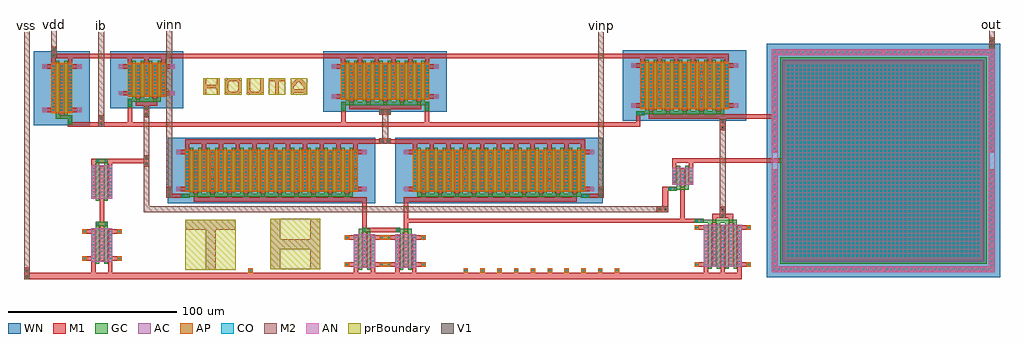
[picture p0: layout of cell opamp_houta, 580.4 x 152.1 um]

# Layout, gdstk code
from math import pi, radians
import gdstk
lib = gdstk.Library(unit=1e-6, precision=1e-07)
def R(c, l, rs):  # rectangles x0, y0, x1, y1
    for r in rs: c.add(gdstk.rectangle(r[:2], r[2:], *l))
def A(c, l, x, y, w, h, nx, ny, dx, dy):  # array of equal rectangles
    R(c, l, [(x+i*dx, y+j*dy, x+i*dx+w, y+j*dy+h) for i in range(nx) for j in range(ny)])
def P(c, l, *ps):  # polygons
    for p in ps: c.add(gdstk.Polygon(p, *l))
AP = (3, 1)
AN = (3, 2)
AC = (3, 4)
GC = (8, 1)
CO = (11, 0)
M1 = (13, 0)
V1 = (19, 0)
M2 = (20, 0)
WN = (140, 0)
prBoundary = (235, 0)

fet_p_9 = lib.new_cell('fet_p$9')
R(fet_p_9, AP, [(-51.3,-12.5,51.3,12.5)])
A(fet_p_9, CO, -50.5, -11.5, 1, 1, 21, 12, 5, 2)
A(fet_p_9, M1, -51.3, -12.3, 2.6, 24.6, 21, 1, 5, 0)
fet_p_9.add(gdstk.FlexPath([(2.5,-13.7),(2.5,13.7)], 2, ends="flush", simple_path=True, layer=8, datatype=1))  # GC
fet_p_9.add(gdstk.FlexPath([(-2.5,-13.7),(-2.5,13.7)], 2, ends="flush", simple_path=True, layer=8, datatype=1))  # GC
fet_p_9.add(gdstk.FlexPath([(7.5,-13.7),(7.5,13.7)], 2, ends="flush", simple_path=True, layer=8, datatype=1))  # GC
fet_p_9.add(gdstk.FlexPath([(-7.5,-13.7),(-7.5,13.7)], 2, ends="flush", simple_path=True, layer=8, datatype=1))  # GC
fet_p_9.add(gdstk.FlexPath([(12.5,-13.7),(12.5,13.7)], 2, ends="flush", simple_path=True, layer=8, datatype=1))  # GC
fet_p_9.add(gdstk.FlexPath([(-12.5,-13.7),(-12.5,13.7)], 2, ends="flush", simple_path=True, layer=8, datatype=1))  # GC
fet_p_9.add(gdstk.FlexPath([(17.5,-13.7),(17.5,13.7)], 2, ends="flush", simple_path=True, layer=8, datatype=1))  # GC
fet_p_9.add(gdstk.FlexPath([(-17.5,-13.7),(-17.5,13.7)], 2, ends="flush", simple_path=True, layer=8, datatype=1))  # GC
fet_p_9.add(gdstk.FlexPath([(22.5,-13.7),(22.5,13.7)], 2, ends="flush", simple_path=True, layer=8, datatype=1))  # GC
fet_p_9.add(gdstk.FlexPath([(-22.5,-13.7),(-22.5,13.7)], 2, ends="flush", simple_path=True, layer=8, datatype=1))  # GC
fet_p_9.add(gdstk.FlexPath([(27.5,-13.7),(27.5,13.7)], 2, ends="flush", simple_path=True, layer=8, datatype=1))  # GC
fet_p_9.add(gdstk.FlexPath([(-27.5,-13.7),(-27.5,13.7)], 2, ends="flush", simple_path=True, layer=8, datatype=1))  # GC
fet_p_9.add(gdstk.FlexPath([(32.5,-13.7),(32.5,13.7)], 2, ends="flush", simple_path=True, layer=8, datatype=1))  # GC
fet_p_9.add(gdstk.FlexPath([(-32.5,-13.7),(-32.5,13.7)], 2, ends="flush", simple_path=True, layer=8, datatype=1))  # GC
fet_p_9.add(gdstk.FlexPath([(37.5,-13.7),(37.5,13.7)], 2, ends="flush", simple_path=True, layer=8, datatype=1))  # GC
fet_p_9.add(gdstk.FlexPath([(-37.5,-13.7),(-37.5,13.7)], 2, ends="flush", simple_path=True, layer=8, datatype=1))  # GC
fet_p_9.add(gdstk.FlexPath([(42.5,-13.7),(42.5,13.7)], 2, ends="flush", simple_path=True, layer=8, datatype=1))  # GC
fet_p_9.add(gdstk.FlexPath([(-42.5,-13.7),(-42.5,13.7)], 2, ends="flush", simple_path=True, layer=8, datatype=1))  # GC
fet_p_9.add(gdstk.FlexPath([(47.5,-13.7),(47.5,13.7)], 2, ends="flush", simple_path=True, layer=8, datatype=1))  # GC
fet_p_9.add(gdstk.FlexPath([(-47.5,-13.7),(-47.5,13.7)], 2, ends="flush", simple_path=True, layer=8, datatype=1))  # GC

cont_p = lib.new_cell('cont_p')
R(cont_p, AP, [(-1.3,-1.3,1.3,1.3)])
R(cont_p, CO, [(-0.5,-0.5,0.5,0.5)])
R(cont_p, M1, [(-1.3,-1.3,1.3,1.3)])

fet_n = lib.new_cell('fet_n')
R(fet_n, AN, [(-6.3,-5,6.3,5)])
A(fet_n, CO, -5.5, -3.5, 1, 1, 3, 4, 5, 2)
A(fet_n, M1, -6.3, -4.3, 2.6, 8.6, 3, 1, 5, 0)
fet_n.add(gdstk.FlexPath([(2.5,-6.2),(2.5,6.2)], 2, ends="flush", simple_path=True, layer=8, datatype=1))  # GC
fet_n.add(gdstk.FlexPath([(-2.5,-6.2),(-2.5,6.2)], 2, ends="flush", simple_path=True, layer=8, datatype=1))  # GC

fet_n_2 = lib.new_cell('fet_n$2')
R(fet_n_2, AN, [(-11.3,-12.5,11.3,12.5)])
A(fet_n_2, CO, -10.5, -11.5, 1, 1, 5, 12, 5, 2)
A(fet_n_2, M1, -11.3, -12.3, 2.6, 24.6, 5, 1, 5, 0)
fet_n_2.add(gdstk.FlexPath([(2.5,-13.7),(2.5,13.7)], 2, ends="flush", simple_path=True, layer=8, datatype=1))  # GC
fet_n_2.add(gdstk.FlexPath([(-2.5,-13.7),(-2.5,13.7)], 2, ends="flush", simple_path=True, layer=8, datatype=1))  # GC
fet_n_2.add(gdstk.FlexPath([(7.5,-13.7),(7.5,13.7)], 2, ends="flush", simple_path=True, layer=8, datatype=1))  # GC
fet_n_2.add(gdstk.FlexPath([(-7.5,-13.7),(-7.5,13.7)], 2, ends="flush", simple_path=True, layer=8, datatype=1))  # GC

cont_g = lib.new_cell('cont_g')
R(cont_g, GC, [(-1.3,-1.3,1.3,1.3)])
R(cont_g, CO, [(-0.5,-0.5,0.5,0.5)])
R(cont_g, M1, [(-1.3,-1.3,1.3,1.3)])

cont_n = lib.new_cell('cont_n')
R(cont_n, AN, [(-1.3,-1.3,1.3,1.3)])
R(cont_n, CO, [(-0.5,-0.5,0.5,0.5)])
R(cont_n, M1, [(-1.3,-1.3,1.3,1.3)])

via_1 = lib.new_cell('via_1')
R(via_1, M1, [(-1.7,-1.7,1.7,1.7)])
R(via_1, V1, [(-0.7,-0.7,0.7,0.7)])
R(via_1, M2, [(-1.7,-1.7,1.7,1.7)])

moscap = lib.new_cell('moscap')
P(moscap, AN, [(-66.4,-66.4),(-66.4,62.8),(-62.8,62.8),(-62.8,-62.8),(62.8,-62.8),(62.8,62.8),(-66.4,62.8),(-66.4,66.4),(66.4,66.4),(66.4,-66.4)])
R(moscap, AC, [(-60,-60,60,60)])
R(moscap, GC, [(-61.4,-61.4,61.4,61.4)])
A(moscap, CO, -65.2, -65.2, 1.2, 1.2, 1, 27, 0, 2.4)
A(moscap, CO, -65.2, -65.2, 1.2, 1.2, 25, 2, 2.4, 129.2)
A(moscap, CO, 6.4, -65.2, 1.2, 1.2, 25, 2, 2.4, 129.2)
A(moscap, CO, 64, -65.2, 1.2, 1.2, 1, 27, 0, 2.4)
A(moscap, CO, -57, -57, 1.2, 1.2, 48, 48, 2.4, 2.4)
A(moscap, CO, -65.2, 1.6, 1.2, 1.2, 1, 27, 0, 2.4)
A(moscap, CO, 64, 1.6, 1.2, 1.2, 1, 27, 0, 2.4)
R(moscap, M1, [(-59.3,-59.3,59.3,59.3)])
P(moscap, M1, [(-66.4,-66.4),(-66.4,66.4),(-5,66.4),(-5,62.8),(-62.8,62.8),(-62.8,-62.8),(-5,-62.8),(-5,-66.4)],
  [(5,-66.4),(5,-62.8),(62.8,-62.8),(62.8,62.8),(5,62.8),(5,66.4),(66.4,66.4),(66.4,-66.4)])
R(moscap, WN, [(-69.4,-69.4,69.4,69.4)])

fet_p_2 = lib.new_cell('fet_p$2')
R(fet_p_2, AP, [(-26.3,-14,26.3,14)])
A(fet_p_2, CO, -25.5, -12.5, 1, 1, 11, 13, 5, 2)
A(fet_p_2, M1, -26.3, -13.3, 2.6, 26.6, 11, 1, 5, 0)
fet_p_2.add(gdstk.FlexPath([(2.5,-15.2),(2.5,15.2)], 2, ends="flush", simple_path=True, layer=8, datatype=1))  # GC
fet_p_2.add(gdstk.FlexPath([(-2.5,-15.2),(-2.5,15.2)], 2, ends="flush", simple_path=True, layer=8, datatype=1))  # GC
fet_p_2.add(gdstk.FlexPath([(7.5,-15.2),(7.5,15.2)], 2, ends="flush", simple_path=True, layer=8, datatype=1))  # GC
fet_p_2.add(gdstk.FlexPath([(-7.5,-15.2),(-7.5,15.2)], 2, ends="flush", simple_path=True, layer=8, datatype=1))  # GC
fet_p_2.add(gdstk.FlexPath([(12.5,-15.2),(12.5,15.2)], 2, ends="flush", simple_path=True, layer=8, datatype=1))  # GC
fet_p_2.add(gdstk.FlexPath([(-12.5,-15.2),(-12.5,15.2)], 2, ends="flush", simple_path=True, layer=8, datatype=1))  # GC
fet_p_2.add(gdstk.FlexPath([(17.5,-15.2),(17.5,15.2)], 2, ends="flush", simple_path=True, layer=8, datatype=1))  # GC
fet_p_2.add(gdstk.FlexPath([(-17.5,-15.2),(-17.5,15.2)], 2, ends="flush", simple_path=True, layer=8, datatype=1))  # GC
fet_p_2.add(gdstk.FlexPath([(22.5,-15.2),(22.5,15.2)], 2, ends="flush", simple_path=True, layer=8, datatype=1))  # GC
fet_p_2.add(gdstk.FlexPath([(-22.5,-15.2),(-22.5,15.2)], 2, ends="flush", simple_path=True, layer=8, datatype=1))  # GC

fet_n_1 = lib.new_cell('fet_n$1')
R(fet_n_1, AN, [(-6.3,-10,6.3,10)])
A(fet_n_1, CO, -5.5, -8.5, 1, 1, 3, 9, 5, 2)
A(fet_n_1, M1, -6.3, -9.3, 2.6, 18.6, 3, 1, 5, 0)
fet_n_1.add(gdstk.FlexPath([(2.5,-11.2),(2.5,11.2)], 2, ends="flush", simple_path=True, layer=8, datatype=1))  # GC
fet_n_1.add(gdstk.FlexPath([(-2.5,-11.2),(-2.5,11.2)], 2, ends="flush", simple_path=True, layer=8, datatype=1))  # GC

fet_p_10 = lib.new_cell('fet_p$10')
R(fet_p_10, AP, [(-26.3,-11,26.3,11)])
A(fet_p_10, CO, -25.5, -9.5, 1, 1, 11, 10, 5, 2)
A(fet_p_10, M1, -26.3, -10.3, 2.6, 20.6, 11, 1, 5, 0)
fet_p_10.add(gdstk.FlexPath([(2.5,-12.2),(2.5,12.2)], 2, ends="flush", simple_path=True, layer=8, datatype=1))  # GC
fet_p_10.add(gdstk.FlexPath([(-2.5,-12.2),(-2.5,12.2)], 2, ends="flush", simple_path=True, layer=8, datatype=1))  # GC
fet_p_10.add(gdstk.FlexPath([(7.5,-12.2),(7.5,12.2)], 2, ends="flush", simple_path=True, layer=8, datatype=1))  # GC
fet_p_10.add(gdstk.FlexPath([(-7.5,-12.2),(-7.5,12.2)], 2, ends="flush", simple_path=True, layer=8, datatype=1))  # GC
fet_p_10.add(gdstk.FlexPath([(12.5,-12.2),(12.5,12.2)], 2, ends="flush", simple_path=True, layer=8, datatype=1))  # GC
fet_p_10.add(gdstk.FlexPath([(-12.5,-12.2),(-12.5,12.2)], 2, ends="flush", simple_path=True, layer=8, datatype=1))  # GC
fet_p_10.add(gdstk.FlexPath([(17.5,-12.2),(17.5,12.2)], 2, ends="flush", simple_path=True, layer=8, datatype=1))  # GC
fet_p_10.add(gdstk.FlexPath([(-17.5,-12.2),(-17.5,12.2)], 2, ends="flush", simple_path=True, layer=8, datatype=1))  # GC
fet_p_10.add(gdstk.FlexPath([(22.5,-12.2),(22.5,12.2)], 2, ends="flush", simple_path=True, layer=8, datatype=1))  # GC
fet_p_10.add(gdstk.FlexPath([(-22.5,-12.2),(-22.5,12.2)], 2, ends="flush", simple_path=True, layer=8, datatype=1))  # GC

fet_p = lib.new_cell('fet_p')
R(fet_p, AP, [(-6.3,-15,6.3,15)])
A(fet_p, CO, -5.5, -13.5, 1, 1, 3, 14, 5, 2)
A(fet_p, M1, -6.3, -14.3, 2.6, 28.6, 3, 1, 5, 0)
fet_p.add(gdstk.FlexPath([(2.5,-16.2),(2.5,16.2)], 2, ends="flush", simple_path=True, layer=8, datatype=1))  # GC
fet_p.add(gdstk.FlexPath([(-2.5,-16.2),(-2.5,16.2)], 2, ends="flush", simple_path=True, layer=8, datatype=1))  # GC

c_h = lib.new_cell('H')
P(c_h, M2, [(0,0),(0,30),(6,30),(6,18),(24,18),(24,30),(30,30),(30,0),(24,0),(24,12),(6,12),(6,0)])
R(c_h, prBoundary, [(0,0,30,30)])

h_1 = lib.new_cell('H$1')
P(h_1, M1, [(0,0),(0,10),(2,10),(2,6),(8,6),(8,10),(10,10),(10,0),(8,0),(8,4),(2,4),(2,0)])
R(h_1, prBoundary, [(0,0,10,10)])

c_o = lib.new_cell('O')
P(c_o, M1, [(2,0),(0,2),(0,8),(2,10),(8,10),(10,8),(10,2),(8,0),(5,0),(5,2),(7,2),(8,3),(8,7),(7,8),(3,8),(2,7),(2,3),(3,2),(5,2),(5,0)])
R(c_o, prBoundary, [(0,0,10,10)])

c_u = lib.new_cell('U')
P(c_u, M1, [(2,0),(0,2),(0,10),(2,10),(2,3),(3,2),(7,2),(8,3),(8,10),(10,10),(10,2),(8,0)])
R(c_u, prBoundary, [(0,0,10,10)])

c_t = lib.new_cell('T')
P(c_t, M1, [(4,0),(4,8),(0,8),(0,10),(10,10),(10,8),(6,8),(6,0)])
R(c_t, prBoundary, [(0,0,10,10)])

c_a = lib.new_cell('A')
P(c_a, M1, [(0,0),(0,6),(4,10),(6,10),(10,6),(10,0),(8,0),(8,5),(5,8),(2,5),(2,3.5),(8,3.5),(8,1.4),(2,1.4),(2,0)])
R(c_a, prBoundary, [(0,0,10,10)])

t_1 = lib.new_cell('T$1')
P(t_1, M2, [(12,0),(12,24),(0,24),(0,30),(30,30),(30,24),(18,24),(18,0)])
R(t_1, prBoundary, [(0,0,30,30)])

fet_p_4 = lib.new_cell('fet_p$4')
R(fet_p_4, AP, [(-11.3,-10,11.3,10)])
A(fet_p_4, CO, -10.5, -8.5, 1, 1, 5, 9, 5, 2)
A(fet_p_4, M1, -11.3, -9.3, 2.6, 18.6, 5, 1, 5, 0)
fet_p_4.add(gdstk.FlexPath([(2.5,-11.2),(2.5,11.2)], 2, ends="flush", simple_path=True, layer=8, datatype=1))  # GC
fet_p_4.add(gdstk.FlexPath([(-2.5,-11.2),(-2.5,11.2)], 2, ends="flush", simple_path=True, layer=8, datatype=1))  # GC
fet_p_4.add(gdstk.FlexPath([(7.5,-11.2),(7.5,11.2)], 2, ends="flush", simple_path=True, layer=8, datatype=1))  # GC
fet_p_4.add(gdstk.FlexPath([(-7.5,-11.2),(-7.5,11.2)], 2, ends="flush", simple_path=True, layer=8, datatype=1))  # GC

opamp_houta = lib.new_cell('opamp_houta')
R(opamp_houta, AP, [(214.2,7.6,215.4,10.2), (214.2,23.6,215.4,26.2)])
R(opamp_houta, GC, [(42.8,31.7,49.8,34.3), (42.8,31.7,49.8,34.3), (42.8,69.2,49.8,71.8), (42.8,69.2,49.8,71.8)])
A(opamp_houta, M1, 404.2, 4, 2.6, 3.6, 3, 1, 10, 0)
A(opamp_houta, M1, 61.6, 128, 2.6, 3.6, 3, 1, 10, 0)
A(opamp_houta, M1, 188.5, 128, 2.6, 3.6, 6, 1, 10, 0)
R(opamp_houta, M1, [(40,4,42.6,11.2), (50,4,52.6,11.2), (196.2,4,198.8,7.6), (206.2,4,208.8,7.6), (220.8,4,223.4,7.6), (230.8,4,233.4,7.6), (230.8,7.5,238.8,10.1), (190.8,7.6,198.8,10.2), (206.2,7.6,214.2,10.2), (206.2,7.6,214.2,10.2), (214.2,7.6,215.4,10.2), (215.4,7.6,223.4,10.2), (398.8,7.6,406.8,10.2), (424.2,7.6,432.2,10.2), (34.6,11.2,42.6,13.8), (50,11.2,58,13.8), (230.8,23.5,238.8,26.1), (190.8,23.6,198.8,26.2), (190.8,23.6,198.8,26.2), (206.2,23.6,214.2,26.2), (206.2,23.6,214.2,26.2), (214.2,23.6,215.4,26.2), (215.4,23.6,223.4,26.2), (201.2,26.2,203.8,48.8), (225.8,26.2,228.4,48.8), (34.6,27.2,42.6,29.8), (50,27.2,58,29.8), (398.8,29.6,406.8,32.2), (398.8,29.6,406.8,32.2), (424.2,29.6,432.2,32.2), (45,29.8,47.6,48.7), (42.8,31.7,49.8,34.3), (409.2,32.2,411.8,35.8), (419.2,32.2,421.8,35.8), (390.4,35.4,393,57.1), (379.6,40,383,55.2), (84.7,48.4,93.4,51), (89.5,48.4,98.2,51), (336.2,48.4,344.9,51), (100.8,48.8,103.4,52.4), (100.8,48.8,103.4,52.4), (110.8,48.8,113.4,52.4), (110.8,48.8,113.4,52.4), (120.8,48.8,123.4,52.4), (120.8,48.8,123.4,52.4), (130.8,48.8,133.4,52.4), (130.8,48.8,133.4,52.4), (140.8,48.8,143.4,52.4), (140.8,48.8,143.4,52.4), (150.8,48.8,153.4,52.4), (150.8,48.8,153.4,52.4), (160.8,48.8,163.4,52.4), (160.8,48.8,163.4,52.4), (170.8,48.8,173.4,52.4), (170.8,48.8,173.4,52.4), (180.8,48.8,183.4,52.4), (180.8,48.8,183.4,52.4), (190.8,48.8,193.4,52.4), (236.2,48.8,238.8,52.4), (236.2,48.8,238.8,52.4), (246.2,48.8,248.8,52.4), (246.2,48.8,248.8,52.4), (256.2,48.8,258.8,52.4), (256.2,48.8,258.8,52.4), (266.2,48.8,268.8,52.4), (266.2,48.8,268.8,52.4), (276.2,48.8,278.8,52.4), (276.2,48.8,278.8,52.4), (286.2,48.8,288.8,52.4), (286.2,48.8,288.8,52.4), (296.2,48.8,298.8,52.4), (296.2,48.8,298.8,52.4), (306.2,48.8,308.8,52.4), (306.2,48.8,308.8,52.4), (316.2,48.8,318.8,52.4), (316.2,48.8,318.8,52.4), (326.2,48.8,328.8,52.4), (90.4,52.4,98.4,55), (195.8,52.4,203.8,55), (195.8,52.4,203.8,55), (225.8,52.4,233.8,55), (331.2,52.4,339.2,55), (331.2,52.4,339.2,55), (385.4,65.7,388,69.3), (395.4,65.7,398,69.3), (40,67.3,42.6,71.8), (50,67.3,52.6,71.8), (40,69.2,52.6,71.8), (90.4,74.4,98.4,77), (195.8,74.4,203.8,77), (195.8,74.4,203.8,77), (225.8,74.4,233.8,77), (331.2,74.4,339.2,77), (331.2,74.4,339.2,77), (95.8,77,98.4,80.6), (95.8,77,98.4,80.6), (105.8,77,108.4,80.6), (105.8,77,108.4,80.6), (115.8,77,118.4,80.6), (115.8,77,118.4,80.6), (125.8,77,128.4,80.6), (125.8,77,128.4,80.6), (135.8,77,138.4,80.6), (135.8,77,138.4,80.6), (145.8,77,148.4,80.6), (145.8,77,148.4,80.6), (155.8,77,158.4,80.6), (155.8,77,158.4,80.6), (165.8,77,168.4,80.6), (165.8,77,168.4,80.6), (175.8,77,178.4,80.6), (175.8,77,178.4,80.6), (185.8,77,188.4,80.6), (185.8,77,188.4,80.6), (195.8,77,198.4,80.6), (195.8,77,198.4,80.6), (231.2,77,233.8,80.6), (231.2,77,233.8,80.6), (241.2,77,243.8,80.6), (241.2,77,243.8,80.6), (251.2,77,253.8,80.6), (251.2,77,253.8,80.6), (261.2,77,263.8,80.6), (261.2,77,263.8,80.6), (271.2,77,273.8,80.6), (271.2,77,273.8,80.6), (281.2,77,283.8,80.6), (281.2,77,283.8,80.6), (291.2,77,293.8,80.6), (291.2,77,293.8,80.6), (301.2,77,303.8,80.6), (301.2,77,303.8,80.6), (311.2,77,313.8,80.6), (311.2,77,313.8,80.6), (321.2,77,323.8,80.6), (321.2,77,323.8,80.6), (331.2,77,333.8,80.6), (331.2,77,333.8,80.6), (364,90.9,366.6,97.5), (21.2,95.5,28.6,97.5), (21.2,95.8,23.8,99.4), (10.8,99.4,18.8,102), (26.2,99.4,34.2,102), (361.2,102,369.2,104.6), (416.6,102,424.6,104.6), (193.5,103.8,196.1,107.4), (193.5,103.8,196.1,107.4), (203.5,103.8,206.1,107.4), (203.5,103.8,206.1,107.4), (213.5,103.8,216.1,107.4), (213.5,103.8,216.1,107.4), (223.5,103.8,226.1,107.4), (223.5,103.8,226.1,107.4), (233.5,103.8,236.1,107.4), (233.5,103.8,236.1,107.4), (66.6,105.8,69.2,109.4), (76.6,105.8,79.2,109.4), (183.1,107.4,191.1,110), (238.5,107.4,246.5,110), (56.2,109.4,64.2,112), (81.6,109.4,89.6,112), (10.8,125.4,18.8,128), (26.2,125.4,34.2,128), (56.2,125.4,64.2,128), (81.6,125.4,89.6,128), (183.1,125.4,191.1,128), (238.5,125.4,246.5,128), (361.2,126,369.2,128.6), (416.6,126,424.6,128.6), (16.2,128,18.8,131.6), (26.2,128,28.8,131.6)])
R(opamp_houta, WN, [(85.4,45.2,208.8,84.2), (220.8,45.2,344.2,84.2), (5.8,91.7,39.2,135.7), (356.2,94.3,429.6,136.3), (178.1,99.7,251.5,135.7), (51.2,101.7,94.6,135.7)])
opamp_houta.add(gdstk.FlexPath([(414.2,96.9),(448.2,96.9)], 2.6, ends="flush", simple_path=True, layer=13, datatype=0))  # M1
opamp_houta.add(gdstk.FlexPath([(364,92.2),(26,92.2)], 2.6, ends="flush", simple_path=True, layer=13, datatype=0))  # M1
opamp_houta.add(gdstk.FlexPath([(367.9,132.9),(16.2,132.9)], 2.6, ends="flush", simple_path=True, layer=13, datatype=0))  # M1
opamp_houta.add(gdstk.FlexPath([(367.9,127.8),(367.9,132.9),(417.9,132.9),(417.9,129.1),(417.9,127.8)], 2.6, ends="flush", simple_path=True, layer=13, datatype=0))  # M1
opamp_houta.add(gdstk.FlexPath([(377.9,127.8),(377.9,131.6),(377.9,131.6)], 2.6, ends="flush", simple_path=True, layer=13, datatype=0))  # M1
opamp_houta.add(gdstk.FlexPath([(387.9,127.8),(387.9,131.6),(387.9,131.6)], 2.6, ends="flush", simple_path=True, layer=13, datatype=0))  # M1
opamp_houta.add(gdstk.FlexPath([(397.9,127.8),(397.9,131.6),(397.9,131.6)], 2.6, ends="flush", simple_path=True, layer=13, datatype=0))  # M1
opamp_houta.add(gdstk.FlexPath([(407.9,127.8),(407.9,131.6),(407.9,131.6)], 2.6, ends="flush", simple_path=True, layer=13, datatype=0))  # M1
opamp_houta.add(gdstk.FlexPath([(372.9,98.2),(372.9,102),(372.9,102)], 2.6, ends="flush", simple_path=True, layer=13, datatype=0))  # M1
opamp_houta.add(gdstk.FlexPath([(382.9,98.2),(382.9,102),(382.9,102)], 2.6, ends="flush", simple_path=True, layer=13, datatype=0))  # M1
opamp_houta.add(gdstk.FlexPath([(392.9,98.2),(392.9,102),(392.9,102)], 2.6, ends="flush", simple_path=True, layer=13, datatype=0))  # M1
opamp_houta.add(gdstk.FlexPath([(402.9,98.2),(402.9,102),(402.9,102)], 2.6, ends="flush", simple_path=True, layer=13, datatype=0))  # M1
opamp_houta.add(gdstk.FlexPath([(412.9,98.2),(412.9,102),(412.9,102)], 2.6, ends="flush", simple_path=True, layer=13, datatype=0))  # M1
opamp_houta.add(gdstk.FlexPath([(371.6,96.9),(414.2,96.9)], 2.6, ends="flush", simple_path=True, layer=13, datatype=0))  # M1
opamp_houta.add(gdstk.FlexPath([(193.5,102.5),(236.1,102.5)], 2.6, ends="flush", simple_path=True, layer=13, datatype=0))  # M1
opamp_houta.add(gdstk.FlexPath([(190,105.5),(190,90.9)], 2.6, ends="flush", simple_path=True, layer=13, datatype=0))  # M1
opamp_houta.add(gdstk.FlexPath([(239.6,105.5),(239.6,90.9)], 2.6, ends="flush", simple_path=True, layer=13, datatype=0))  # M1
opamp_houta.add(gdstk.FlexPath([(63.1,107.5),(63.1,90.9)], 2.6, ends="flush", simple_path=True, layer=13, datatype=0))  # M1
opamp_houta.add(gdstk.FlexPath([(66.6,104.5),(79.2,104.5)], 2.6, ends="flush", simple_path=True, layer=13, datatype=0))  # M1
opamp_houta.add(gdstk.FlexPath([(40,70.5),(74.6,70.5)], 2.6, ends="flush", simple_path=True, layer=13, datatype=0))  # M1
opamp_houta.add(gdstk.FlexPath([(426.8,2),(372.9,2),(0,2)], 4, ends="flush", simple_path=True, layer=13, datatype=0))  # M1
opamp_houta.add(gdstk.FlexPath([(410.5,34.6),(410.5,37.6),(420.5,37.6),(420.5,34.6),(420.5,34.6),(420.5,34.6)], 2.6, ends="flush", simple_path=True, layer=13, datatype=0))  # M1
opamp_houta.add(gdstk.FlexPath([(454,70.6),(385.4,70.6)], 2.6, ends="flush", simple_path=True, layer=13, datatype=0))  # M1
opamp_houta.add(gdstk.FlexPath([(404.2,34.9),(225.9,34.9)], 2.6, ends="flush", simple_path=True, layer=13, datatype=0))  # M1
opamp_houta.add(gdstk.FlexPath([(100.8,47.5),(203.8,47.5)], 2.6, ends="flush", simple_path=True, layer=13, datatype=0))  # M1
opamp_houta.add(gdstk.FlexPath([(225.8,47.5),(328.8,47.5)], 2.6, ends="flush", simple_path=True, layer=13, datatype=0))  # M1
opamp_houta.add(gdstk.FlexPath([(198.4,81.9),(231.2,81.9)], 2.6, ends="flush", simple_path=True, layer=13, datatype=0))  # M1
opamp_houta.add(gdstk.FlexPath([(231.2,81.9),(333.8,81.9)], 2.6, ends="flush", simple_path=True, layer=13, datatype=0))  # M1
opamp_houta.add(gdstk.FlexPath([(95.8,81.9),(198.4,81.9)], 2.6, ends="flush", simple_path=True, layer=13, datatype=0))  # M1
opamp_houta.add(gdstk.FlexPath([(221,29.4),(203.8,29.4),(203.8,29.4)], 2.6, ends="flush", simple_path=True, layer=13, datatype=0))  # M1
opamp_houta.add(gdstk.FlexPath([(86.4,48.4),(86.4,152.1)], 3.4, ends="flush", simple_path=True, layer=20, datatype=0))  # M2
opamp_houta.add(gdstk.FlexPath([(415.5,95.6),(415.5,36.3)], 3.4, ends="flush", simple_path=True, layer=20, datatype=0))  # M2
opamp_houta.add(gdstk.FlexPath([(214.8,101.2),(214.8,80.6)], 3.4, ends="flush", simple_path=True, layer=20, datatype=0))  # M2
opamp_houta.add(gdstk.FlexPath([(72.9,103.2),(72.9,40)], 3.4, ends="flush", simple_path=True, layer=20, datatype=0))  # M2
opamp_houta.add(gdstk.FlexPath([(383,41.7),(71.5,41.7),(71.2,41.7)], 3.4, ends="flush", simple_path=True, layer=20, datatype=0))  # M2
opamp_houta.add(gdstk.FlexPath([(45.9,90.9),(45.9,152.1)], 3.4, ends="flush", simple_path=True, layer=20, datatype=0))  # M2
opamp_houta.add(gdstk.FlexPath([(343.2,48.4),(343.2,152.1)], 3.4, ends="flush", simple_path=True, layer=20, datatype=0))  # M2
opamp_houta.add(gdstk.FlexPath([(575.7,137),(575.7,152.1),(575.7,152.1),(575.7,152.1)], 3.4, ends="flush", simple_path=True, layer=20, datatype=0))  # M2
opamp_houta.add(gdstk.FlexPath([(17.9,131.6),(17.9,152.1)], 3.4, ends="flush", simple_path=True, layer=20, datatype=0))  # M2
opamp_houta.add(gdstk.FlexPath([(1.7,0),(1.7,152.1)], 3.4, ends="flush", simple_path=True, layer=20, datatype=0))  # M2
opamp_houta.add(gdstk.FlexPath([(81.4,106.5),(64.4,106.5)], 2, ends="flush", simple_path=True, layer=8, datatype=1))  # GC
opamp_houta.add(gdstk.FlexPath([(26,96.5),(19,96.5)], 2, ends="flush", simple_path=True, layer=8, datatype=1))  # GC
opamp_houta.add(gdstk.FlexPath([(238.3,104.5),(191.3,104.5)], 2, ends="flush", simple_path=True, layer=8, datatype=1))  # GC
opamp_houta.add(gdstk.FlexPath([(415.4,101.3),(415.4,99.1),(369.4,99.1),(369.2,99.1)], 2, ends="flush", simple_path=True, layer=8, datatype=1))  # GC
opamp_houta.add(gdstk.FlexPath([(404.2,34.6),(424,34.6)], 2, ends="flush", simple_path=True, layer=8, datatype=1))  # GC
opamp_houta.add(gdstk.FlexPath([(388.2,54.2),(395.2,54.2)], 2, ends="flush", simple_path=True, layer=8, datatype=1))  # GC
opamp_houta.add(gdstk.FlexPath([(195.6,50),(98.6,50)], 2, ends="flush", simple_path=True, layer=8, datatype=1))  # GC
opamp_houta.add(gdstk.FlexPath([(331,50),(234,50)], 2, ends="flush", simple_path=True, layer=8, datatype=1))  # GC
opamp_houta.add(gdstk.FlexPath([(199,29.1),(206,29.1)], 2, ends="flush", simple_path=True, layer=8, datatype=1))  # GC
opamp_houta.add(gdstk.FlexPath([(223.6,29.1),(230.6,29.1)], 2, ends="flush", simple_path=True, layer=8, datatype=1))  # GC
opamp_houta.add(gdstk.Reference(fet_p_9, (282.5,64.7)))
r = gdstk.Reference(cont_p, (262.7,5.3)); r.repetition = gdstk.Repetition(10, 1, v1=(10,0), v2=(0,0)); opamp_houta.add(r)
opamp_houta.add(gdstk.Reference(fet_n, (391.7,61.4)))
opamp_houta.add(gdstk.Reference(fet_n_2, (415.5,19.9)))
opamp_houta.add(gdstk.Reference(cont_g, (386.9,53.9)))
opamp_houta.add(gdstk.Reference(cont_g, (367.9,98.8)))
opamp_houta.add(gdstk.Reference(cont_n, (423.3,127.3)))
opamp_houta.add(gdstk.Reference(cont_n, (423.3,103.3)))
opamp_houta.add(gdstk.Reference(cont_n, (362.5,127.3)))
opamp_houta.add(gdstk.Reference(cont_n, (362.5,103.3)))
opamp_houta.add(gdstk.Reference(cont_n, (337.9,75.7)))
opamp_houta.add(gdstk.Reference(cont_n, (337.9,75.7)))
opamp_houta.add(gdstk.Reference(via_1, (343.2,53.5)))
opamp_houta.add(gdstk.Reference(cont_g, (334.9,49.7)))
opamp_houta.add(gdstk.Reference(via_1, (343.2,50.1)))
opamp_houta.add(gdstk.Reference(cont_g, (332.3,49.7)))
opamp_houta.add(gdstk.Reference(moscap, (511,70.6), rotation=pi/2))
opamp_houta.add(gdstk.Reference(via_1, (415.5,38)))
opamp_houta.add(gdstk.Reference(via_1, (415.5,90.5)))
opamp_houta.add(gdstk.Reference(via_1, (415.5,93.9)))
opamp_houta.add(gdstk.Reference(via_1, (415.5,41.4)))
opamp_houta.add(gdstk.Reference(cont_g, (402.9,34.9)))
opamp_houta.add(gdstk.Reference(cont_g, (400.3,34.9)))
opamp_houta.add(gdstk.Reference(cont_g, (384.3,53.9)))
opamp_houta.add(gdstk.Reference(via_1, (381.3,41.7)))
opamp_houta.add(gdstk.Reference(via_1, (377.9,41.7)))
opamp_houta.add(gdstk.Reference(cont_g, (365.3,98.8)))
opamp_houta.add(gdstk.Reference(cont_n, (337.9,53.7)))
opamp_houta.add(gdstk.Reference(cont_n, (337.9,53.7)))
opamp_houta.add(gdstk.Reference(via_1, (575.7,138.7)))
opamp_houta.add(gdstk.Reference(via_1, (575.7,142.1)))
opamp_houta.add(gdstk.Reference(cont_p, (430.9,30.9)))
opamp_houta.add(gdstk.Reference(cont_p, (430.9,8.9)))
opamp_houta.add(gdstk.Reference(cont_p, (400.1,30.9)))
opamp_houta.add(gdstk.Reference(cont_p, (400.1,8.9)))
opamp_houta.add(gdstk.Reference(cont_p, (400.1,30.9)))
opamp_houta.add(gdstk.Reference(fet_p_2, (392.9,115.3)))
opamp_houta.add(gdstk.Reference(cont_n, (184.4,108.7)))
opamp_houta.add(gdstk.Reference(cont_n, (184.4,126.7)))
opamp_houta.add(gdstk.Reference(fet_n_1, (227.1,16.9)))
opamp_houta.add(gdstk.Reference(fet_n_1, (202.5,16.9)))
opamp_houta.add(gdstk.Reference(fet_p_9, (147.1,64.7)))
opamp_houta.add(gdstk.Reference(fet_p_10, (214.8,117.7)))
opamp_houta.add(gdstk.Reference(cont_n, (32.9,100.7)))
opamp_houta.add(gdstk.Reference(cont_n, (12.1,126.7)))
opamp_houta.add(gdstk.Reference(cont_n, (12.1,100.7)))
opamp_houta.add(gdstk.Reference(fet_n_1, (46.3,20.5)))
opamp_houta.add(gdstk.Reference(fet_p, (22.5,113.7)))
opamp_houta.add(gdstk.Reference(cont_n, (227.1,75.7)))
opamp_houta.add(gdstk.Reference(cont_n, (202.5,75.7)))
opamp_houta.add(gdstk.Reference(cont_n, (202.5,75.7)))
opamp_houta.add(gdstk.Reference(cont_n, (91.7,75.7)))
opamp_houta.add(gdstk.Reference(via_1, (86.4,50.1)))
opamp_houta.add(gdstk.Reference(cont_g, (97.3,49.7)))
opamp_houta.add(gdstk.Reference(cont_g, (202.5,29.4)))
opamp_houta.add(gdstk.Reference(cont_g, (222.3,29.4)))
opamp_houta.add(gdstk.Reference(via_1, (213.1,99.5)))
opamp_houta.add(gdstk.Reference(via_1, (216.5,99.5)))
opamp_houta.add(gdstk.Reference(via_1, (213.1,82.3)))
opamp_houta.add(gdstk.Reference(via_1, (216.5,82.3)))
opamp_houta.add(gdstk.Reference(cont_g, (190,104.2)))
opamp_houta.add(gdstk.Reference(cont_g, (190,101.6)))
opamp_houta.add(gdstk.Reference(cont_g, (239.6,104.2)))
opamp_houta.add(gdstk.Reference(cont_g, (239.6,101.6)))
opamp_houta.add(gdstk.Reference(cont_g, (63.1,106.2)))
opamp_houta.add(gdstk.Reference(cont_g, (27.3,96.2)))
opamp_houta.add(gdstk.Reference(cont_g, (27.3,93.6)))
opamp_houta.add(gdstk.Reference(cont_g, (63.1,103.6)))
opamp_houta.add(gdstk.Reference(via_1, (72.9,101.5)))
opamp_houta.add(gdstk.Reference(via_1, (72.9,98.1)))
opamp_houta.add(gdstk.Reference(cont_g, (48.5,70.5)))
opamp_houta.add(gdstk.Reference(cont_g, (44.1,70.5)))
opamp_houta.add(gdstk.Reference(via_1, (72.9,72.2)))
opamp_houta.add(gdstk.Reference(via_1, (72.9,68.8)))
opamp_houta.add(gdstk.Reference(cont_g, (48.5,70.5)))
opamp_houta.add(gdstk.Reference(cont_g, (44.1,70.5)))
opamp_houta.add(gdstk.Reference(cont_g, (48.5,33)))
opamp_houta.add(gdstk.Reference(cont_g, (44.1,33)))
opamp_houta.add(gdstk.Reference(cont_g, (48.5,33)))
opamp_houta.add(gdstk.Reference(cont_g, (44.1,33)))
opamp_houta.add(gdstk.Reference(via_1, (45.9,92.6)))
opamp_houta.add(gdstk.Reference(via_1, (45.9,96)))
opamp_houta.add(gdstk.Reference(cont_p, (134.6,5.3)))
opamp_houta.add(gdstk.Reference(c_h, (146.3,6)))
opamp_houta.add(gdstk.Reference(h_1, (106.5,109.7)))
opamp_houta.add(gdstk.Reference(c_o, (119.5,109.7)))
opamp_houta.add(gdstk.Reference(c_u, (132.5,109.7)))
opamp_houta.add(gdstk.Reference(c_t, (145.5,109.7)))
opamp_houta.add(gdstk.Reference(c_a, (158.5,109.7)))
opamp_houta.add(gdstk.Reference(t_1, (96,5.6)))
opamp_houta.add(gdstk.Reference(cont_n, (32.9,126.7)))
opamp_houta.add(gdstk.Reference(cont_n, (227.1,53.7)))
opamp_houta.add(gdstk.Reference(via_1, (86.4,53.5)))
opamp_houta.add(gdstk.Reference(cont_g, (94.7,49.7)))
opamp_houta.add(gdstk.Reference(cont_n, (202.5,53.7)))
opamp_houta.add(gdstk.Reference(cont_n, (202.5,53.7)))
opamp_houta.add(gdstk.Reference(cont_n, (91.7,53.7)))
opamp_houta.add(gdstk.Reference(cont_n, (88.3,110.7)))
opamp_houta.add(gdstk.Reference(cont_n, (88.3,126.7)))
opamp_houta.add(gdstk.Reference(via_1, (17.9,133.3)))
opamp_houta.add(gdstk.Reference(via_1, (17.9,136.7)))
opamp_houta.add(gdstk.Reference(via_1, (1.7,1.7)))
opamp_houta.add(gdstk.Reference(via_1, (1.7,5.1)))
opamp_houta.add(gdstk.Reference(cont_p, (56.7,28.5)))
opamp_houta.add(gdstk.Reference(cont_p, (56.7,12.5)))
opamp_houta.add(gdstk.Reference(cont_p, (35.9,12.5)))
opamp_houta.add(gdstk.Reference(cont_p, (35.9,28.5)))
opamp_houta.add(gdstk.Reference(cont_p, (192.1,24.9)))
opamp_houta.add(gdstk.Reference(cont_p, (192.1,8.9)))
opamp_houta.add(gdstk.Reference(cont_p, (237.5,24.8)))
opamp_houta.add(gdstk.Reference(cont_p, (237.5,8.8)))
opamp_houta.add(gdstk.Reference(cont_p, (212.9,24.9)))
opamp_houta.add(gdstk.Reference(cont_p, (216.7,24.9)))
opamp_houta.add(gdstk.Reference(cont_p, (216.7,8.9)))
opamp_houta.add(gdstk.Reference(cont_p, (192.1,24.9)))
opamp_houta.add(gdstk.Reference(cont_p, (212.9,24.9)))
opamp_houta.add(gdstk.Reference(cont_p, (212.9,8.9)))
opamp_houta.add(gdstk.Reference(cont_p, (212.9,8.9)))
opamp_houta.add(gdstk.Reference(fet_n_1, (46.3,58)))
opamp_houta.add(gdstk.Reference(fet_p_4, (72.9,118.7)))
opamp_houta.add(gdstk.Reference(cont_n, (57.5,126.7)))
opamp_houta.add(gdstk.Reference(cont_n, (57.5,110.7)))
opamp_houta.add(gdstk.Reference(cont_n, (245.2,108.7)))
opamp_houta.add(gdstk.Reference(cont_n, (245.2,126.7)))
opamp_houta.add(gdstk.Label('vinp', (343.2,151.2), layer=49, texttype=0))
opamp_houta.add(gdstk.Label('vinn', (86.4,151.5), layer=49, texttype=0))
opamp_houta.add(gdstk.Label('ib', (45.9,151.2), layer=49, texttype=0))
opamp_houta.add(gdstk.Label('out', (575.5,151.7), layer=49, texttype=0))
opamp_houta.add(gdstk.Label('vdd', (17.9,151.7), layer=49, texttype=0))
opamp_houta.add(gdstk.Label('vss', (1.7,151.2), layer=49, texttype=0))

lib.write_gds('opamp_houta.gds')
